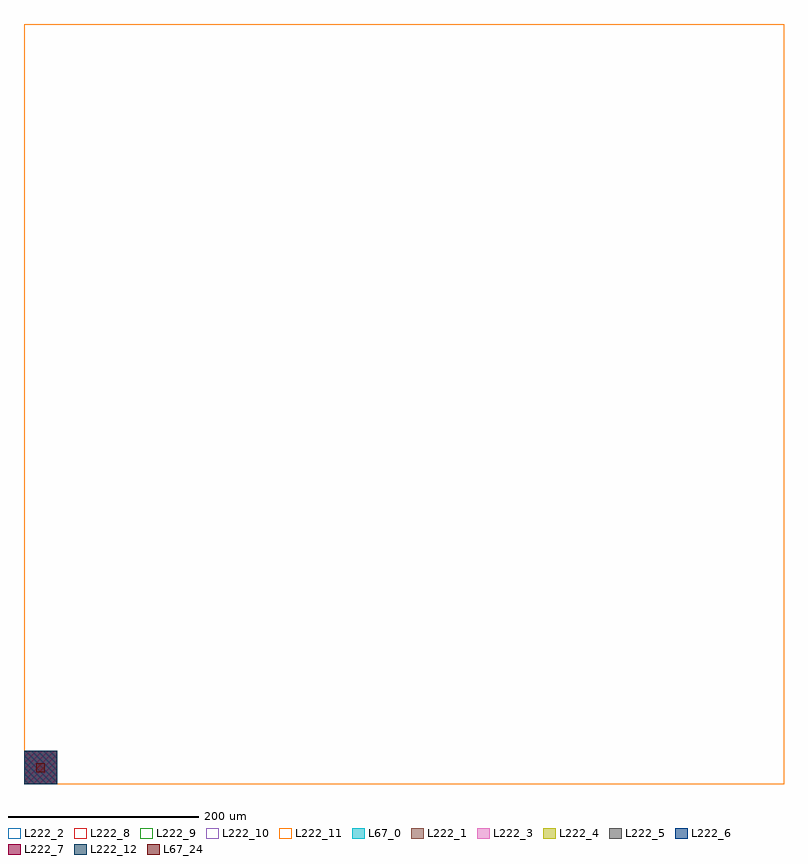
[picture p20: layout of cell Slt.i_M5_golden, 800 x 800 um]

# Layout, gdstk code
import gdstk
lib = gdstk.Library(unit=1e-6, precision=1e-09)
def R(c, l, rs):  # rectangles x0, y0, x1, y1
    for r in rs: c.add(gdstk.rectangle(r[:2], r[2:], *l))
L67_0 = (67, 0)
L67_24 = (67, 24)
L222_1 = (222, 1)
L222_2 = (222, 2)
L222_3 = (222, 3)
L222_4 = (222, 4)
L222_5 = (222, 5)
L222_6 = (222, 6)
L222_7 = (222, 7)
L222_8 = (222, 8)
L222_9 = (222, 9)
L222_10 = (222, 10)
L222_11 = (222, 11)
L222_12 = (222, 12)

slt_i_m5_golden = lib.new_cell('Slt.i_M5_golden')
R(slt_i_m5_golden, L67_0, [(0,0,35.1,35.1)])
R(slt_i_m5_golden, L67_24, [(13.04,12.625,22.04,21.625)])
R(slt_i_m5_golden, L222_1, [(0,0,35.1,35.1)])
R(slt_i_m5_golden, L222_2, [(0,0,800,800)])
R(slt_i_m5_golden, L222_3, [(0,0,35.1,35.1)])
R(slt_i_m5_golden, L222_4, [(0,0,35.1,35.1)])
R(slt_i_m5_golden, L222_5, [(0,0,35.1,35.1)])
R(slt_i_m5_golden, L222_6, [(0,0,35.1,35.1)])
R(slt_i_m5_golden, L222_7, [(0,0,35.1,35.1)])
R(slt_i_m5_golden, L222_8, [(0,0,800,800)])
R(slt_i_m5_golden, L222_9, [(0,0,800,800)])
R(slt_i_m5_golden, L222_10, [(0,0,800,800)])
R(slt_i_m5_golden, L222_11, [(0,0,800,800)])
R(slt_i_m5_golden, L222_12, [(0,0,35.1,35.1)])

lib.write_gds('Slt.i_M5_golden.gds')
